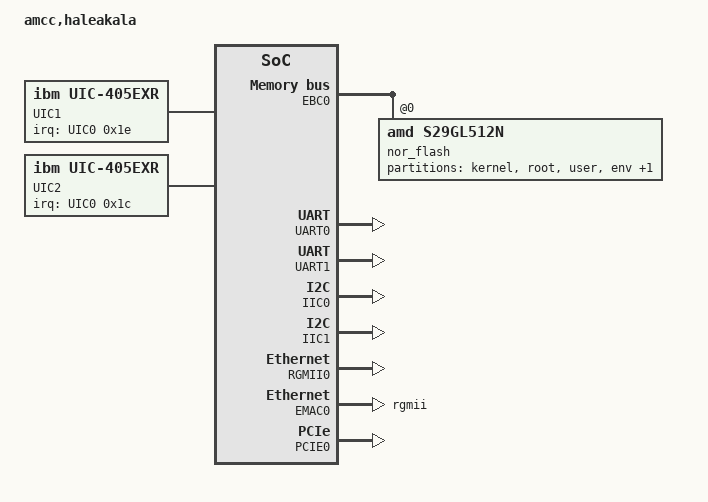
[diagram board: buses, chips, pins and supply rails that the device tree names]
/*
 * Device Tree Source for AMCC Haleakala (405EXr)
 *
 * Copyright 2008 DENX Software Engineering, Stefan Roese <sr@denx.de>
 *
 * This file is licensed under the terms of the GNU General Public
 * License version 2.  This program is licensed "as is" without
 * any warranty of any kind, whether express or implied.
 */

/dts-v1/;

/ {
	#address-cells = <1>;
	#size-cells = <1>;
	model = "amcc,haleakala";
	compatible = "amcc,haleakala", "amcc,kilauea";
	dcr-parent = <&{/cpus/cpu@0}>;

	aliases {
		ethernet0 = &EMAC0;
		serial0 = &UART0;
		serial1 = &UART1;
	};

	cpus {
		#address-cells = <1>;
		#size-cells = <0>;

		cpu@0 {
			device_type = "cpu";
			model = "PowerPC,405EXr";
			reg = <0x00000000>;
			clock-frequency = <0>; /* Filled in by U-Boot */
			timebase-frequency = <0>; /* Filled in by U-Boot */
			i-cache-line-size = <32>;
			d-cache-line-size = <32>;
			i-cache-size = <16384>; /* 16 kB */
			d-cache-size = <16384>; /* 16 kB */
			dcr-controller;
			dcr-access-method = "native";
		};
	};

	memory {
		device_type = "memory";
		reg = <0x00000000 0x00000000>; /* Filled in by U-Boot */
	};

	UIC0: interrupt-controller {
		compatible = "ibm,uic-405exr", "ibm,uic";
		interrupt-controller;
		cell-index = <0>;
		dcr-reg = <0x0c0 0x009>;
		#address-cells = <0>;
		#size-cells = <0>;
		#interrupt-cells = <2>;
	};

	UIC1: interrupt-controller1 {
		compatible = "ibm,uic-405exr","ibm,uic";
		interrupt-controller;
		cell-index = <1>;
		dcr-reg = <0x0d0 0x009>;
		#address-cells = <0>;
		#size-cells = <0>;
		#interrupt-cells = <2>;
		interrupts = <0x1e 0x4 0x1f 0x4>; /* cascade */
		interrupt-parent = <&UIC0>;
	};

	UIC2: interrupt-controller2 {
		compatible = "ibm,uic-405exr","ibm,uic";
		interrupt-controller;
		cell-index = <2>;
		dcr-reg = <0x0e0 0x009>;
		#address-cells = <0>;
		#size-cells = <0>;
		#interrupt-cells = <2>;
		interrupts = <0x1c 0x4 0x1d 0x4>; /* cascade */
		interrupt-parent = <&UIC0>;
	};

	plb {
		compatible = "ibm,plb-405exr", "ibm,plb4";
		#address-cells = <1>;
		#size-cells = <1>;
		ranges;
		clock-frequency = <0>; /* Filled in by U-Boot */

		SDRAM0: memory-controller {
			compatible = "ibm,sdram-405exr", "ibm,sdram-4xx-ddr2";
			dcr-reg = <0x010 0x002>;
			interrupt-parent = <&UIC2>;
			interrupts = <0x5 0x4	/* ECC DED Error */ 
				      0x6 0x4>;	/* ECC SEC Error */ 
		};

		MAL0: mcmal {
			compatible = "ibm,mcmal-405exr", "ibm,mcmal2";
			dcr-reg = <0x180 0x062>;
			num-tx-chans = <2>;
			num-rx-chans = <2>;
			interrupt-parent = <&MAL0>;
			interrupts = <0x0 0x1 0x2 0x3 0x4>;
			#interrupt-cells = <1>;
			#address-cells = <0>;
			#size-cells = <0>;
			interrupt-map = </*TXEOB*/ 0x0 &UIC0 0xa 0x4
					/*RXEOB*/ 0x1 &UIC0 0xb 0x4
					/*SERR*/  0x2 &UIC1 0x0 0x4
					/*TXDE*/  0x3 &UIC1 0x1 0x4
					/*RXDE*/  0x4 &UIC1 0x2 0x4>;
			interrupt-map-mask = <0xffffffff>;
		};

		POB0: opb {
			compatible = "ibm,opb-405exr", "ibm,opb";
			#address-cells = <1>;
			#size-cells = <1>;
			ranges = <0x80000000 0x80000000 0x10000000
				  0xef600000 0xef600000 0x00a00000
				  0xf0000000 0xf0000000 0x10000000>;
			dcr-reg = <0x0a0 0x005>;
			clock-frequency = <0>; /* Filled in by U-Boot */

			EBC0: ebc {
				compatible = "ibm,ebc-405exr", "ibm,ebc";
				dcr-reg = <0x012 0x002>;
				#address-cells = <2>;
				#size-cells = <1>;
				clock-frequency = <0>; /* Filled in by U-Boot */
				/* ranges property is supplied by U-Boot */
				interrupts = <0x5 0x1>;
				interrupt-parent = <&UIC1>;

				nor_flash@0,0 {
					compatible = "amd,s29gl512n", "cfi-flash";
					bank-width = <2>;
					reg = <0x00000000 0x00000000 0x04000000>;
					#address-cells = <1>;
					#size-cells = <1>;
					partition@0 {
						label = "kernel";
						reg = <0x00000000 0x00200000>;
					};
					partition@200000 {
						label = "root";
						reg = <0x00200000 0x00200000>;
					};
					partition@400000 {
						label = "user";
						reg = <0x00400000 0x03b60000>;
					};
					partition@3f60000 {
						label = "env";
						reg = <0x03f60000 0x00040000>;
					};
					partition@3fa0000 {
						label = "u-boot";
						reg = <0x03fa0000 0x00060000>;
					};
				};
			};

			UART0: serial@ef600200 {
				device_type = "serial";
				compatible = "ns16550";
				reg = <0xef600200 0x00000008>;
				virtual-reg = <0xef600200>;
				clock-frequency = <0>; /* Filled in by U-Boot */
				current-speed = <0>;
				interrupt-parent = <&UIC0>;
				interrupts = <0x1a 0x4>;
			};

			UART1: serial@ef600300 {
				device_type = "serial";
				compatible = "ns16550";
				reg = <0xef600300 0x00000008>;
				virtual-reg = <0xef600300>;
				clock-frequency = <0>; /* Filled in by U-Boot */
				current-speed = <0>;
				interrupt-parent = <&UIC0>;
				interrupts = <0x1 0x4>;
			};

			IIC0: i2c@ef600400 {
				compatible = "ibm,iic-405exr", "ibm,iic";
				reg = <0xef600400 0x00000014>;
				interrupt-parent = <&UIC0>;
				interrupts = <0x2 0x4>;
			};

			IIC1: i2c@ef600500 {
				compatible = "ibm,iic-405exr", "ibm,iic";
				reg = <0xef600500 0x00000014>;
				interrupt-parent = <&UIC0>;
				interrupts = <0x7 0x4>;
			};


			RGMII0: emac-rgmii@ef600b00 {
				compatible = "ibm,rgmii-405exr", "ibm,rgmii";
				reg = <0xef600b00 0x00000104>;
				has-mdio;
			};

			EMAC0: ethernet@ef600900 {
				linux,network-index = <0x0>;
				device_type = "network";
				compatible = "ibm,emac-405exr", "ibm,emac4sync";
				interrupt-parent = <&EMAC0>;
				interrupts = <0x0 0x1>;
				#interrupt-cells = <1>;
				#address-cells = <0>;
				#size-cells = <0>;
				interrupt-map = </*Status*/ 0x0 &UIC0 0x18 0x4
						/*Wake*/  0x1 &UIC1 0x1d 0x4>;
				reg = <0xef600900 0x000000c4>;
				local-mac-address = [000000000000]; /* Filled in by U-Boot */
				mal-device = <&MAL0>;
				mal-tx-channel = <0>;
				mal-rx-channel = <0>;
				cell-index = <0>;
				max-frame-size = <9000>;
				rx-fifo-size = <4096>;
				tx-fifo-size = <2048>;
				rx-fifo-size-gige = <16384>;
				tx-fifo-size-gige = <16384>;
				phy-mode = "rgmii";
				phy-map = <0x00000000>;
				rgmii-device = <&RGMII0>;
				rgmii-channel = <0>;
				has-inverted-stacr-oc;
				has-new-stacr-staopc;
			};
		};

		PCIE0: pcie@a0000000 {
			device_type = "pci";
			#interrupt-cells = <1>;
			#size-cells = <2>;
			#address-cells = <3>;
			compatible = "ibm,plb-pciex-405ex", "ibm,plb-pciex";
			primary;
			port = <0x0>; /* port number */
			reg = <0xa0000000 0x20000000	/* Config space access */
			       0xef000000 0x00001000>;	/* Registers */
			dcr-reg = <0x040 0x020>;
			sdr-base = <0x400>;

			/* Outbound ranges, one memory and one IO,
			 * later cannot be changed
			 */
			ranges = <0x02000000 0x00000000 0x80000000 0x90000000 0x00000000 0x08000000
				  0x01000000 0x00000000 0x00000000 0xe0000000 0x00000000 0x00010000>;

			/* Inbound 2GB range starting at 0 */
			dma-ranges = <0x42000000 0x0 0x0 0x0 0x0 0x80000000>;

			/* This drives busses 0x00 to 0x3f */
			bus-range = <0x0 0x3f>;

			/* Legacy interrupts (note the weird polarity, the bridge seems
			 * to invert PCIe legacy interrupts).
			 * We are de-swizzling here because the numbers are actually for
			 * port of the root complex virtual P2P bridge. But I want
			 * to avoid putting a node for it in the tree, so the numbers
			 * below are basically de-swizzled numbers.
			 * The real slot is on idsel 0, so the swizzling is 1:1
			 */
			interrupt-map-mask = <0x0 0x0 0x0 0x7>;
			interrupt-map = <
				0x0 0x0 0x0 0x1 &UIC2 0x0 0x4 /* swizzled int A */
				0x0 0x0 0x0 0x2 &UIC2 0x1 0x4 /* swizzled int B */
				0x0 0x0 0x0 0x3 &UIC2 0x2 0x4 /* swizzled int C */
				0x0 0x0 0x0 0x4 &UIC2 0x3 0x4 /* swizzled int D */>;
		};
	};
};
